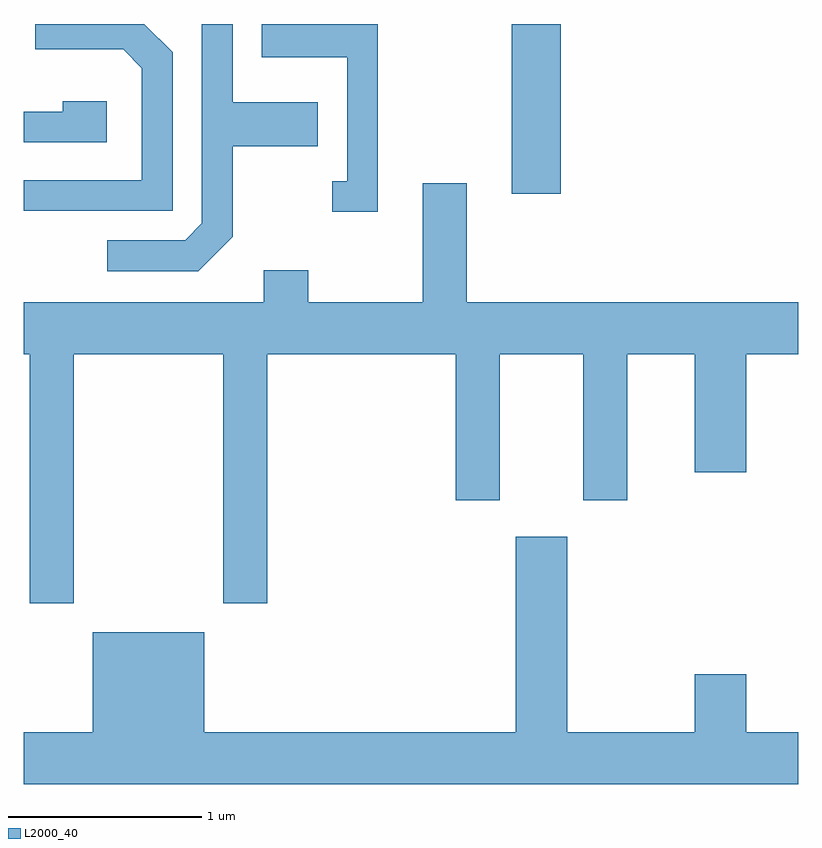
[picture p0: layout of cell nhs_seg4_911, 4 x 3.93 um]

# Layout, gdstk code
import gdstk
lib = gdstk.Library(unit=1e-6, precision=1e-09)
def R(c, l, rs):  # rectangles x0, y0, x1, y1
    for r in rs: c.add(gdstk.rectangle(r[:2], r[2:], *l))
def P(c, l, *ps):  # polygons
    for p in ps: c.add(gdstk.Polygon(p, *l))
L2000_40 = (2000, 40)

nhs_seg4_911 = lib.new_cell('nhs_seg4_911')
R(nhs_seg4_911, L2000_40, [(214.131,1311.106,214.384,1311.982)])
P(nhs_seg4_911, L2000_40, [(212.689,1310.884),(212.689,1311.351),(213.129,1311.351),(213.129,1311.579),(212.689,1311.579),(212.689,1311.982),(212.531,1311.982),(212.531,1310.952),(212.444,1310.864),(212.043,1310.864),(212.043,1310.706),(212.512,1310.706)],
  [(212.379,1311.837),(212.234,1311.982),(211.671,1311.982),(211.671,1311.851),(212.124,1311.851),(212.221,1311.754),(212.221,1311.174),(211.611,1311.174),(211.611,1311.016),(212.379,1311.016)],
  [(213.439,1311.982),(212.841,1311.982),(212.841,1311.811),(213.281,1311.811),(213.281,1311.169),(213.203,1311.169),(213.203,1311.011),(213.439,1311.011)],
  [(212.039,1311.584),(211.811,1311.584),(211.811,1311.529),(211.611,1311.529),(211.611,1311.371),(212.039,1311.371)],
  [(211.611,1310.276),(211.641,1310.276),(211.641,1308.991),(211.869,1308.991),(211.869,1310.276),(212.641,1310.276),(212.641,1308.991),(212.869,1308.991),(212.869,1310.276),(213.841,1310.276),(213.841,1309.521),(214.069,1309.521),(214.069,1310.276),(214.501,1310.276),(214.501,1309.521),(214.729,1309.521),(214.729,1310.276),(215.076,1310.276),(215.076,1309.666),(215.344,1309.666),(215.344,1310.276),(215.611,1310.276),(215.611,1310.544),(213.899,1310.544),(213.899,1311.159),(213.671,1311.159),(213.671,1310.544),(213.079,1310.544),(213.079,1310.709),(212.851,1310.709),(212.851,1310.544),(211.611,1310.544)],
  [(215.611,1308.324),(215.344,1308.324),(215.344,1308.624),(215.076,1308.624),(215.076,1308.324),(214.419,1308.324),(214.419,1309.334),(214.151,1309.334),(214.151,1308.324),(212.544,1308.324),(212.544,1308.839),(211.966,1308.839),(211.966,1308.324),(211.611,1308.324),(211.611,1308.056),(215.611,1308.056)])

lib.write_gds('nhs_seg4_911.gds')
